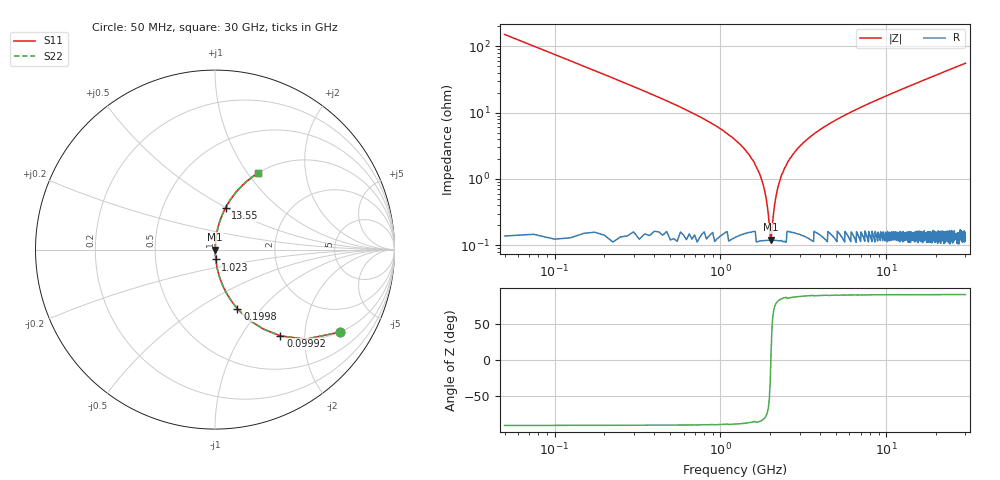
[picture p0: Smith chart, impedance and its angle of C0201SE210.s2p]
!	AVX Thin Film Operation 	Date: April 2014
!	Description: Accu-P® Series, Thin Film  SMD RF Capacitor
!	Part Number: 0201ZK210FBSTR
# MHZ S MA R 50
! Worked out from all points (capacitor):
!   1201 points, 50 MHz to 30 GHz, reference 50 ohm
!   read as one part in series: C = 21 pF near 199.8 MHz
!   lowest |Z| = 121 mohm at 2.022 GHz (marker M1)
!   series resonance near 2.015 GHz, so ESL is about 300 pH
!   S11 on the Smith chart (normalised r, x): 50 MHz: 1.00, -3.03; 99.92 MHz: 1.00, -1.51; 199.8 MHz: 1.00, -0.75; 1.023 GHz: 1.00, -0.11; 13.55 GHz: 1.00, +0.50; 30 GHz: 1.00, +1.11
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50  0.834 -33.4  0.551 56.5  0.551 56.5  0.834 -33.4
99.917  0.603 -52.8  0.797 37.1  0.797 37.1  0.603 -52.8
199.75  0.351 -69.2  0.935 20.6  0.935 20.6  0.351 -69.2
274.625  0.261 -74.6  0.964 15.1  0.964 15.1  0.261 -74.6
399.417  0.179 -79.3  0.982 10.3  0.982 10.3  0.179 -79.3
1023.375  0.055 -85.4  0.997 3.1  0.997 3.1  0.055 -85.4
1597.417  0.018 -84.5  0.998 1.0  0.998 1.0  0.018 -84.5
1747.167  0.011 -82.1  0.999 0.6  0.999 0.6  0.011 -82.1
1921.875  0.003819 -68.8  0.999 0.2  0.999 0.2  0.003819 -68.8
2021.708  0.001389 9.9  0.999 -0.0  0.999 -0.0  0.001389 9.9
2121.542  0.004097 70.3  0.999 -0.2  0.999 -0.2  0.004097 70.3
2271.292  0.009108 80.8  0.999 -0.5  0.999 -0.5  0.009108 80.8
2396.083  0.013 83.3  0.999 -0.7  0.999 -0.7  0.013 83.3
2845.333  0.026 85.5  0.998 -1.5  0.998 -1.5  0.026 85.5
3693.917  0.048 85.6  0.997 -2.8  0.997 -2.8  0.048 85.6
5041.667  0.079 84.5  0.996 -4.5  0.996 -4.5  0.079 84.5
10058.29  0.177 79.4  0.983 -10.2  0.983 -10.2  0.177 79.4
13552.46  0.24 75.8  0.97 -13.9  0.97 -13.9  0.24 75.8
15025  0.265 74.3  0.963 -15.4  0.963 -15.4  0.265 74.3
20016.67  0.346 69.5  0.937 -20.3  0.937 -20.3  0.346 69.5
25033.29  0.421 65.0  0.906 -24.9  0.906 -24.9  0.421 65.0
30000  0.486 60.8  0.873 -29.1  0.873 -29.1  0.486 60.8
